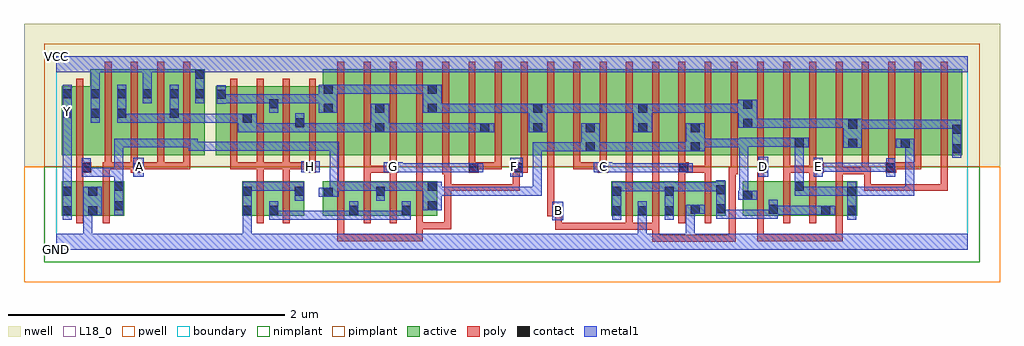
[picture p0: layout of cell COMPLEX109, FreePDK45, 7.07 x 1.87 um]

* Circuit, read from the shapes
.subckt COMPLEX109 A B C D E F G GND H VCC Y
M1 GND n1 Y VSUBS nfet w=0.25u l=0.05u
M2 n1 A GND VSUBS nfet w=0.25u l=0.05u
M3 n2 H GND VSUBS nfet w=0.25u l=0.05u m=2
M4 n2 F n1 VSUBS nfet w=0.25u l=0.05u m=2
M5 n1 G n2 VSUBS nfet w=0.25u l=0.05u m=2
M6 GND B n3 VSUBS nfet w=0.25u l=0.05u m=2
M7 GND C n3 VSUBS nfet w=0.25u l=0.05u m=2
M8 n3 D n1 VSUBS nfet w=0.25u l=0.05u m=2
M9 n1 E n3 VSUBS nfet w=0.25u l=0.05u m=2
M10 VCC n1 Y n4 pfet w=0.5u l=0.05u
M11 n5 A VCC n4 pfet w=0.625u l=0.05u m=4
M12 n5 H n6 n4 pfet w=0.5u l=0.05u m=4
M13 n7 F n6 n4 pfet w=0.625u l=0.05u
M14 n5 G n7 n4 pfet w=0.625u l=0.05u
M15 n8 G n5 n4 pfet w=0.625u l=0.05u
M16 n6 F n8 n4 pfet w=0.625u l=0.05u
M17 n9 F n6 n4 pfet w=0.625u l=0.05u
M18 n5 G n9 n4 pfet w=0.625u l=0.05u
M19 n10 G n5 n4 pfet w=0.625u l=0.05u
M20 n6 F n10 n4 pfet w=0.625u l=0.05u
M21 n11 B n6 n4 pfet w=0.625u l=0.05u
M22 n1 C n11 n4 pfet w=0.625u l=0.05u
M23 n12 C n1 n4 pfet w=0.625u l=0.05u
M24 n6 B n12 n4 pfet w=0.625u l=0.05u
M25 n13 B n6 n4 pfet w=0.625u l=0.05u
M26 n1 C n13 n4 pfet w=0.625u l=0.05u
M27 n14 C n1 n4 pfet w=0.625u l=0.05u
M28 n6 B n14 n4 pfet w=0.625u l=0.05u
M29 n15 D n6 n4 pfet w=0.625u l=0.05u
M30 n1 E n15 n4 pfet w=0.625u l=0.05u
M31 n16 E n1 n4 pfet w=0.625u l=0.05u
M32 n6 D n16 n4 pfet w=0.625u l=0.05u
M33 n17 D n6 n4 pfet w=0.625u l=0.05u
M34 n1 E n17 n4 pfet w=0.625u l=0.05u
M35 n18 E n1 n4 pfet w=0.625u l=0.05u
M36 n6 D n18 n4 pfet w=0.625u l=0.05u
.ends

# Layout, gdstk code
import gdstk
lib = gdstk.Library(unit=1e-6, precision=1e-09)
def R(c, l, rs):  # rectangles x0, y0, x1, y1
    for r in rs: c.add(gdstk.rectangle(r[:2], r[2:], *l))
def A(c, l, x, y, w, h, nx, ny, dx, dy):  # array of equal rectangles
    R(c, l, [(x+i*dx, y+j*dy, x+i*dx+w, y+j*dy+h) for i in range(nx) for j in range(ny)])
active = (1, 0)
pwell = (2, 0)
nwell = (3, 0)
nimplant = (4, 0)
pimplant = (5, 0)
poly = (9, 0)
contact = (10, 0)
metal1 = (11, 0)
L18_0 = (18, 0)
boundary = (235, 0)

complex109 = lib.new_cell('COMPLEX109')
A(complex109, active, 5.155, 0.247, 0.265, 0.25, 3, 1, 0.19, 0)
A(complex109, active, 1.155, 0.682, 0.265, 0.5, 3, 1, 0.19, 0)
A(complex109, active, 2.155, 0.682, 0.225, 0.625, 3, 1, 0.38, 0)
A(complex109, active, 2.305, 0.682, 0.23, 0.625, 3, 1, 0.38, 0)
A(complex109, active, 3.295, 0.682, 0.23, 0.625, 5, 1, 0.38, 0)
A(complex109, active, 3.45, 0.682, 0.075, 0.518, 4, 1, 0.76, 0)
A(complex109, active, 3.45, 0.682, 0.225, 0.625, 5, 1, 0.38, 0)
R(complex109, active, [(0.04,0.245,0.115,0.495), (0.04,0.245,0.3,0.495), (0.225,0.245,0.49,0.495), (0.225,0.245,0.3,0.46), (4.02,0.245,4.095,0.495), (4.02,0.245,4.28,0.495), (4.205,0.245,4.475,0.495), (4.205,0.245,4.28,0.387), (4.4,0.245,4.665,0.495), (4.4,0.245,4.475,0.46), (4.59,0.245,4.85,0.495), (1.345,0.247,1.42,0.497), (1.345,0.247,1.61,0.497), (1.535,0.247,1.795,0.497), (1.535,0.247,1.61,0.357), (1.93,0.247,2.19,0.497), (2.115,0.247,2.19,0.405), (2.115,0.247,2.385,0.497), (2.31,0.247,2.57,0.497), (2.495,0.247,2.76,0.497), (2.495,0.247,2.57,0.372), (4.97,0.247,5.23,0.497), (5.155,0.247,5.23,0.405), (5.535,0.247,5.61,0.387), (5.725,0.247,5.8,0.497), (4.59,0.255,4.665,0.467), (4.775,0.257,4.85,0.495), (0.415,0.28,0.49,0.495), (2.685,0.28,2.76,0.497), (1.72,0.297,1.795,0.497), (1.93,0.297,2.005,0.497), (2.31,0.297,2.385,0.467), (4.97,0.297,5.045,0.497), (5.345,0.297,5.42,0.497), (0.04,0.682,0.32,1.182), (0.04,0.682,0.115,1.165), (0.245,0.682,0.32,1.307), (0.245,0.682,0.51,1.307), (0.435,0.682,0.51,1.2), (0.435,0.682,0.695,1.307), (0.62,0.682,0.89,1.307), (0.62,0.682,0.695,1.282), (0.815,0.682,0.89,1.2), (0.815,0.682,1.075,1.307), (1,0.682,1.075,1.307), (1.155,0.682,1.23,1.182), (1.725,0.682,2.005,1.182), (1.93,0.682,2.155,1.307), (2.305,0.682,2.38,1.07), (2.685,0.682,2.76,1.2), (3.065,0.682,3.14,1.07), (3.83,0.682,3.905,1.07), (4.59,0.682,4.665,1.07), (5.195,0.682,5.42,1.307), (5.345,0.682,5.42,1.07), (5.345,0.682,5.575,1.307), (5.575,0.682,5.805,1.307), (5.73,0.682,5.955,1.307), (5.955,0.682,6.185,1.307), (6.11,0.682,6.335,1.307), (6.11,0.682,6.185,1.07), (6.335,0.682,6.56,1.307), (6.485,0.682,6.56,1.2), (1.535,0.72,1.61,1.182), (1.93,0.752,2.005,1.2), (1.345,0.807,1.42,1.07), (1.725,0.807,1.8,1.07)])
R(complex109, pwell, [(-0.235,-0.235,6.835,0.602)])
R(complex109, nwell, [(-0.235,0.602,6.835,1.635)])
R(complex109, nimplant, [(-0.09,-0.09,6.69,0.602)])
R(complex109, pimplant, [(-0.09,0.602,6.69,1.49)])
A(complex109, poly, 4.125, 0.19, 0.05, 0.36, 4, 1, 0.19, 0)
A(complex109, poly, 2.035, 0.192, 0.05, 0.36, 4, 1, 0.19, 0)
A(complex109, poly, 5.075, 0.192, 0.05, 0.36, 4, 1, 0.19, 0)
A(complex109, poly, 5.075, 0.502, 0.05, 0.105, 3, 1, 0.19, 0)
A(complex109, poly, 0.35, 0.582, 0.05, 0.095, 4, 1, 0.19, 0)
A(complex109, poly, 1.26, 0.582, 0.05, 0.05, 3, 1, 0.19, 0)
A(complex109, poly, 1.26, 0.582, 0.05, 0.095, 4, 1, 0.19, 0)
A(complex109, poly, 2.985, 0.582, 0.05, 0.095, 3, 1, 0.19, 0)
A(complex109, poly, 3.935, 0.582, 0.05, 0.095, 3, 1, 0.57, 0)
A(complex109, poly, 0.35, 0.627, 0.05, 0.735, 4, 1, 0.19, 0)
A(complex109, poly, 1.26, 0.627, 0.05, 0.61, 4, 1, 0.19, 0)
A(complex109, poly, 2.035, 0.627, 0.05, 0.735, 24, 1, 0.19, 0)
R(complex109, poly, [(4.315,0.057,4.612,0.107), (4.315,0.057,4.365,0.195), (4.562,0.057,4.612,0.107), (4.562,0.057,4.612,0.107), (4.562,0.057,4.612,0.107), (4.562,0.057,4.745,0.107), (4.695,0.057,4.745,0.107), (4.695,0.057,4.745,0.107), (4.695,0.057,4.745,0.107), (4.695,0.057,4.92,0.107), (4.87,0.057,4.92,0.107), (4.87,0.057,4.92,0.107), (4.87,0.057,4.92,0.107), (4.87,0.057,4.92,0.597), (2.035,0.06,2.085,0.11), (2.035,0.06,2.085,0.11), (2.035,0.06,2.085,0.11), (2.035,0.06,2.085,0.242), (2.035,0.06,2.32,0.11), (2.27,0.06,2.32,0.11), (2.27,0.06,2.452,0.11), (2.402,0.06,2.452,0.11), (2.402,0.06,2.452,0.11), (2.402,0.06,2.452,0.11), (2.402,0.06,2.655,0.11), (2.605,0.06,2.655,0.11), (2.605,0.06,2.655,0.11), (2.605,0.06,2.655,0.197), (5.075,0.06,5.125,0.11), (5.075,0.06,5.125,0.242), (5.075,0.06,5.372,0.11), (5.322,0.06,5.372,0.11), (5.322,0.06,5.372,0.11), (5.322,0.06,5.372,0.11), (5.322,0.06,5.562,0.11), (5.512,0.06,5.562,0.11), (5.512,0.06,5.562,0.11), (5.512,0.06,5.562,0.11), (5.512,0.06,5.695,0.11), (5.645,0.06,5.695,0.11), (5.645,0.06,5.695,0.11), (5.645,0.06,5.695,0.11), (5.645,0.06,5.695,0.242), (3.612,0.145,3.662,0.195), (3.612,0.145,3.662,0.195), (3.612,0.145,3.662,0.195), (3.612,0.145,3.795,0.195), (3.612,0.145,3.662,0.292), (3.745,0.145,3.795,0.195), (3.745,0.145,3.795,0.195), (3.745,0.145,3.795,0.195), (3.745,0.145,3.795,0.195), (3.745,0.145,3.795,0.195), (3.745,0.145,4.042,0.195), (3.992,0.145,4.042,0.195), (3.992,0.145,4.175,0.195), (4.125,0.145,4.175,0.195), (4.125,0.145,4.175,0.195), (4.125,0.145,4.175,0.195), (4.125,0.145,4.175,0.24), (4.125,0.145,4.365,0.195), (4.315,0.145,4.365,0.195), (4.315,0.145,4.365,0.195), (4.315,0.145,4.365,0.24), (2.605,0.147,2.655,0.242), (2.605,0.147,2.86,0.197), (2.81,0.147,2.86,0.197), (2.81,0.147,2.86,0.197), (2.81,0.147,2.86,0.475), (0.145,0.19,0.195,0.55), (0.335,0.19,0.385,0.55), (1.45,0.192,1.5,0.552), (1.64,0.192,1.69,0.552), (3.555,0.242,3.662,0.317), (3.612,0.242,3.662,0.292), (3.612,0.242,3.662,0.292), (3.555,0.267,3.605,0.677), (2.81,0.425,2.86,0.475), (2.81,0.425,2.86,0.475), (2.81,0.425,2.86,0.597), (2.81,0.425,3.015,0.475), (2.965,0.425,3.015,0.475), (2.965,0.425,3.015,0.475), (2.965,0.425,3.015,0.475), (2.965,0.425,3.192,0.475), (3.142,0.425,3.192,0.475), (3.142,0.425,3.192,0.475), (3.142,0.425,3.192,0.475), (3.142,0.425,3.192,0.475), (3.142,0.425,3.192,0.475), (3.142,0.425,3.357,0.475), (3.307,0.425,3.357,0.475), (3.307,0.425,3.357,0.475), (3.307,0.425,3.357,0.475), (3.307,0.425,3.357,0.475), (3.307,0.425,3.357,0.475), (3.307,0.425,3.357,0.607), (5.85,0.425,5.9,0.475), (5.85,0.425,6.057,0.475), (5.85,0.425,5.9,0.597), (6.007,0.425,6.057,0.475), (6.007,0.425,6.057,0.475), (6.007,0.425,6.057,0.475), (6.007,0.425,6.322,0.475), (6.272,0.425,6.322,0.475), (6.272,0.425,6.322,0.475), (6.272,0.425,6.322,0.475), (6.272,0.425,6.455,0.475), (6.405,0.425,6.455,0.677), (6.405,0.425,6.455,0.475), (6.405,0.425,6.455,0.475), (6.405,0.425,6.455,0.475), (6.405,0.425,6.455,0.475), (6.405,0.425,6.455,0.475), (6.405,0.425,6.455,0.475), (6.405,0.425,6.455,0.475), (0.145,0.5,0.195,0.607), (0.335,0.5,0.385,0.632), (4.125,0.5,4.175,0.595), (4.315,0.5,4.365,0.595), (4.505,0.5,4.555,0.607), (4.695,0.5,4.745,0.607), (1.45,0.502,1.5,0.632), (1.64,0.502,1.69,0.632), (2.035,0.502,2.085,0.597), (2.225,0.502,2.275,0.607), (2.415,0.502,2.465,0.607), (2.605,0.502,2.655,0.597), (5.645,0.502,5.695,0.597), (4.125,0.545,4.175,0.595), (4.125,0.545,4.175,0.677), (4.315,0.545,4.365,0.595), (4.315,0.545,4.365,0.677), (2.035,0.547,2.085,0.597), (2.035,0.547,2.085,0.677), (2.605,0.547,2.655,0.597), (2.605,0.547,2.655,0.677), (2.795,0.547,2.845,0.677), (2.795,0.547,2.86,0.597), (2.81,0.547,2.86,0.597), (2.81,0.547,2.86,0.597), (4.87,0.547,4.92,0.597), (4.87,0.547,4.92,0.597), (4.87,0.547,4.92,0.597), (4.87,0.547,4.92,0.597), (4.87,0.547,4.935,0.597), (4.885,0.547,4.935,0.677), (5.645,0.547,5.695,0.597), (5.645,0.547,5.695,0.677), (5.645,0.547,5.885,0.597), (5.835,0.547,5.885,0.597), (5.835,0.547,5.885,0.597), (5.835,0.547,5.885,0.677), (5.835,0.547,5.9,0.597), (5.85,0.547,5.9,0.597), (5.85,0.547,5.9,0.597), (0.145,0.557,0.252,0.632), (0.54,0.557,0.627,0.632), (1.802,0.557,1.88,0.632), (2.225,0.557,2.275,0.607), (2.225,0.557,2.275,0.677), (2.225,0.557,2.452,0.607), (2.402,0.557,2.452,0.607), (2.402,0.557,2.452,0.607), (2.402,0.557,2.477,0.632), (2.985,0.557,3.06,0.632), (3.307,0.557,3.415,0.632), (3.922,0.557,3.997,0.632), (4.505,0.557,4.58,0.632), (4.53,0.557,4.745,0.607), (4.695,0.557,4.745,0.607), (4.695,0.557,4.745,0.607), (4.695,0.557,4.745,0.607), (4.695,0.557,4.745,0.677), (5.075,0.557,5.155,0.632), (5.265,0.557,5.315,0.607), (5.265,0.557,5.505,0.607), (5.265,0.557,5.315,0.677), (5.455,0.557,5.505,0.607), (5.455,0.557,5.505,0.607), (5.455,0.557,5.557,0.632), (6.007,0.557,6.082,0.632), (0.145,0.582,0.195,0.677), (0.335,0.582,0.4,0.632), (0.35,0.582,0.59,0.632), (0.54,0.582,0.59,0.632), (0.54,0.582,0.59,0.632), (0.577,0.582,0.78,0.632), (0.73,0.582,0.78,0.632), (0.73,0.582,0.78,0.632), (0.73,0.582,0.78,0.632), (0.73,0.582,0.97,0.632), (0.92,0.582,0.97,0.632), (0.92,0.582,0.97,0.632), (0.92,0.582,0.97,0.632), (1.26,0.582,1.31,0.632), (1.26,0.582,1.31,0.632), (1.26,0.582,1.5,0.632), (1.45,0.582,1.69,0.632), (1.64,0.582,1.69,0.632), (1.64,0.582,1.69,0.632), (1.64,0.582,1.852,0.632), (1.802,0.582,1.852,0.632), (1.802,0.582,1.852,0.632), (2.415,0.582,2.465,0.677), (3.01,0.582,3.225,0.632), (3.175,0.582,3.225,0.632), (3.175,0.582,3.225,0.632), (3.175,0.582,3.225,0.632), (3.745,0.582,3.795,0.632), (3.745,0.582,3.795,0.632), (3.745,0.582,3.795,0.632), (3.745,0.582,3.795,0.677), (3.745,0.582,3.972,0.632), (5.455,0.582,5.505,0.677), (6.025,0.582,6.075,0.677), (6.032,0.582,6.19,0.632), (6.14,0.582,6.19,0.632), (6.14,0.582,6.265,0.632), (6.215,0.582,6.265,0.632), (6.215,0.582,6.265,0.677), (0.145,0.627,0.195,1.237)])
R(complex109, contact, [(3.592,0.247,3.657,0.312), (0.045,0.25,0.11,0.315), (0.23,0.25,0.295,0.315), (4.025,0.25,4.09,0.315), (4.21,0.25,4.275,0.315), (4.405,0.25,4.47,0.315), (1.35,0.252,1.415,0.317), (1.54,0.252,1.605,0.317), (2.12,0.252,2.185,0.317), (2.5,0.252,2.565,0.317), (5.54,0.252,5.605,0.317), (5.73,0.252,5.795,0.317), (4.595,0.26,4.66,0.325), (5.16,0.26,5.225,0.325), (4.78,0.262,4.845,0.327), (0.42,0.285,0.485,0.35), (2.69,0.285,2.755,0.35), (4.975,0.362,5.04,0.427), (1.935,0.382,2,0.447), (0.045,0.39,0.11,0.455), (0.23,0.39,0.295,0.455), (1.725,0.39,1.79,0.455), (2.315,0.39,2.38,0.455), (4.025,0.39,4.09,0.455), (4.405,0.39,4.47,0.455), (1.35,0.392,1.415,0.457), (5.73,0.392,5.795,0.457), (4.78,0.402,4.845,0.467), (0.42,0.425,0.485,0.49), (2.69,0.425,2.755,0.49), (5.35,0.425,5.415,0.49), (0.182,0.562,0.247,0.627), (0.557,0.562,0.622,0.627), (1.807,0.562,1.872,0.627), (2.407,0.562,2.472,0.627), (2.99,0.562,3.055,0.627), (3.312,0.562,3.377,0.627), (3.927,0.562,3.992,0.627), (4.51,0.562,4.575,0.627), (5.085,0.562,5.15,0.627), (5.487,0.562,5.552,0.627), (6.012,0.562,6.077,0.627), (6.49,0.7,6.555,0.765), (3.835,0.712,3.9,0.777), (4.595,0.712,4.66,0.777), (5.735,0.737,5.8,0.802), (6.115,0.737,6.18,0.802), (5.35,0.742,5.415,0.807), (6.49,0.84,6.555,0.905), (3.455,0.85,3.52,0.915), (4.215,0.85,4.28,0.915), (2.31,0.852,2.375,0.917), (3.07,0.852,3.135,0.917), (3.835,0.852,3.9,0.917), (4.595,0.852,4.66,0.917), (5.735,0.877,5.8,0.942), (4.975,0.882,5.04,0.947), (1.73,0.887,1.795,0.952), (1.35,0.92,1.415,0.985), (0.045,0.955,0.11,1.02), (0.25,0.955,0.315,1.02), (0.44,0.955,0.505,1.02), (0.82,0.955,0.885,1.02), (1.935,0.99,2,1.055), (2.69,0.99,2.755,1.055), (3.455,0.99,3.52,1.055), (4.215,0.99,4.28,1.055), (2.31,0.992,2.375,1.057), (4.975,1.022,5.04,1.087), (1.54,1.025,1.605,1.09), (1.16,1.092,1.225,1.157), (0.045,1.095,0.11,1.16), (0.25,1.095,0.315,1.16), (0.44,1.095,0.505,1.16), (0.625,1.095,0.69,1.16), (0.82,1.095,0.885,1.16), (1.005,1.097,1.07,1.162), (1.935,1.13,2,1.195), (2.69,1.13,2.755,1.195), (1.005,1.237,1.07,1.302)])
R(complex109, metal1, [(0,0,6.6,0.115), (0.195,0.05,0.26,0.115), (0.195,0.05,0.26,0.115), (0.195,0.05,0.26,0.115), (0.195,0.05,0.26,0.115), (0.195,0.05,0.26,0.315), (1.35,0.05,1.415,0.115), (1.35,0.05,1.415,0.115), (1.35,0.05,1.415,0.115), (1.35,0.05,1.415,0.115), (1.35,0.05,1.415,0.282), (4.21,0.05,4.275,0.115), (4.21,0.05,4.275,0.115), (4.21,0.05,4.275,0.115), (4.21,0.05,4.275,0.115), (4.21,0.05,4.275,0.28), (4.56,0.05,4.625,0.115), (4.56,0.05,4.625,0.115), (4.56,0.05,4.625,0.317), (3.592,0.212,3.672,0.347), (0.045,0.215,0.11,0.49), (4.025,0.215,4.09,0.49), (4.21,0.215,4.275,0.35), (4.405,0.215,4.47,0.49), (1.35,0.217,1.415,0.492), (1.54,0.217,1.605,0.352), (1.54,0.217,1.657,0.282), (1.592,0.217,1.657,0.282), (1.592,0.217,1.827,0.282), (1.762,0.217,1.827,0.282), (1.762,0.217,1.827,0.282), (1.762,0.217,1.827,0.282), (1.762,0.217,2.047,0.282), (1.982,0.217,2.047,0.282), (1.982,0.217,2.047,0.282), (1.982,0.217,2.047,0.282), (1.982,0.217,2.185,0.282), (2.12,0.217,2.185,0.282), (2.12,0.217,2.185,0.282), (2.12,0.217,2.185,0.352), (2.12,0.217,2.41,0.282), (2.345,0.217,2.41,0.282), (2.345,0.217,2.565,0.282), (2.5,0.217,2.565,0.282), (2.5,0.217,2.565,0.282), (2.5,0.217,2.565,0.352), (5.73,0.217,5.795,0.492), (4.78,0.225,4.845,0.29), (4.78,0.225,4.845,0.29), (4.78,0.225,5.087,0.29), (4.78,0.225,4.845,0.292), (5.022,0.225,5.087,0.29), (5.022,0.225,5.087,0.29), (5.022,0.225,5.087,0.29), (5.022,0.225,5.225,0.29), (5.16,0.225,5.225,0.36), (4.78,0.227,4.845,0.292), (4.78,0.227,4.845,0.502), (0.195,0.25,0.33,0.455), (0.42,0.25,0.485,0.525), (4.56,0.252,4.625,0.317), (4.56,0.252,4.625,0.325), (5.16,0.252,5.362,0.317), (5.297,0.252,5.362,0.317), (5.297,0.252,5.362,0.317), (5.297,0.252,5.362,0.317), (5.297,0.252,5.56,0.317), (5.495,0.252,5.56,0.317), (5.495,0.252,5.57,0.317), (5.505,0.252,5.64,0.317), (4.56,0.26,4.695,0.325), (2.655,0.285,2.79,0.49), (1.725,0.355,1.79,0.49), (2.315,0.355,2.38,0.49), (4.94,0.362,5.075,0.427), (4.947,0.362,5.012,0.427), (4.947,0.362,5.012,0.427), (4.947,0.362,5.012,0.805), (1.9,0.382,2.045,0.447), (1.98,0.382,2.045,0.447), (1.98,0.382,2.045,0.49), (1.98,0.382,2.045,0.78), (2.725,0.39,2.882,0.455), (2.817,0.39,2.882,0.455), (2.817,0.39,2.962,0.455), (2.897,0.39,2.962,0.455), (2.897,0.39,3.02,0.455), (2.955,0.39,3.02,0.455), (2.955,0.39,3.21,0.455), (3.145,0.39,3.21,0.455), (3.145,0.39,3.21,0.455), (3.145,0.39,3.21,0.455), (3.145,0.39,3.347,0.455), (3.282,0.39,3.347,0.455), (3.282,0.39,3.347,0.455), (3.282,0.39,3.347,0.455), (3.282,0.39,3.515,0.455), (3.45,0.39,3.515,0.455), (3.45,0.39,3.515,0.455), (3.45,0.39,3.515,0.455), (3.45,0.39,3.515,0.777), (5.35,0.39,5.415,0.525), (5.35,0.39,5.552,0.455), (5.487,0.39,5.552,0.455), (5.487,0.39,5.552,0.455), (5.487,0.39,5.552,0.455), (5.487,0.39,5.697,0.455), (5.632,0.39,5.697,0.455), (5.632,0.39,5.795,0.455), (5.73,0.39,5.87,0.455), (5.805,0.39,5.87,0.455), (5.805,0.39,6.007,0.455), (5.942,0.39,6.007,0.455), (5.942,0.39,6.215,0.455), (6.15,0.39,6.215,0.455), (6.15,0.39,6.215,0.455), (6.15,0.39,6.215,0.455), (6.15,0.39,6.215,0.802), (4.025,0.422,4.165,0.487), (4.1,0.422,4.165,0.487), (4.1,0.422,4.302,0.487), (4.237,0.422,4.302,0.487), (4.237,0.422,4.302,0.487), (4.237,0.422,4.302,0.487), (4.237,0.422,4.47,0.487), (4.405,0.422,4.47,0.487), (4.405,0.422,4.47,0.487), (4.405,0.422,4.707,0.487), (4.642,0.422,4.707,0.487), (4.642,0.422,4.707,0.487), (4.642,0.422,4.707,0.487), (4.642,0.422,4.845,0.487), (0.045,0.425,0.11,0.49), (0.045,0.425,0.11,0.49), (0.045,0.425,0.11,0.985), (1.35,0.425,1.415,0.49), (1.35,0.425,1.415,0.49), (1.35,0.425,1.415,0.49), (1.35,0.425,1.415,0.492), (1.35,0.425,1.652,0.49), (1.587,0.425,1.652,0.49), (1.587,0.425,1.652,0.49), (1.587,0.425,1.652,0.49), (1.587,0.425,1.79,0.49), (1.98,0.425,2.202,0.49), (2.137,0.425,2.202,0.49), (2.137,0.425,2.202,0.49), (2.137,0.425,2.202,0.49), (2.137,0.425,2.38,0.49), (2.315,0.425,2.547,0.49), (2.482,0.425,2.547,0.49), (2.482,0.425,2.547,0.49), (2.482,0.425,2.547,0.49), (2.482,0.425,2.72,0.49), (2.655,0.425,2.72,0.49), (2.655,0.425,2.72,0.49), (0.42,0.46,0.485,0.525), (0.42,0.46,0.485,0.805), (0.42,0.46,0.485,0.592), (5.35,0.46,5.415,0.805), (0.182,0.527,0.247,0.592), (0.182,0.527,0.247,0.592), (0.182,0.527,0.247,0.592), (0.182,0.527,0.247,0.592), (0.182,0.527,0.247,0.662), (0.182,0.527,0.485,0.592), (0.557,0.527,0.632,0.667), (3.287,0.527,3.377,0.667), (5.085,0.527,5.157,0.672), (5.487,0.527,5.552,0.667), (6.012,0.527,6.077,0.662), (1.772,0.562,1.907,0.64), (2.372,0.562,2.507,0.632), (2.442,0.562,2.547,0.627), (2.482,0.562,2.547,0.627), (2.482,0.562,2.745,0.627), (2.68,0.562,2.745,0.627), (2.68,0.562,2.745,0.627), (2.68,0.562,2.745,0.627), (2.68,0.562,2.882,0.627), (2.817,0.562,2.882,0.627), (2.817,0.562,2.927,0.627), (2.862,0.562,2.927,0.627), (2.862,0.562,3.02,0.627), (2.955,0.562,3.09,0.627), (3.892,0.562,4.027,0.632), (3.962,0.562,4.107,0.627), (4.042,0.562,4.107,0.627), (4.042,0.562,4.165,0.627), (4.1,0.562,4.165,0.627), (4.1,0.562,4.302,0.627), (4.237,0.562,4.302,0.627), (4.237,0.562,4.302,0.627), (4.237,0.562,4.302,0.627), (4.237,0.562,4.47,0.627), (4.405,0.562,4.47,0.627), (4.405,0.562,4.54,0.627), (4.475,0.562,4.61,0.627), (5.487,0.565,5.552,0.63), (5.487,0.565,5.552,0.63), (5.487,0.565,5.697,0.63), (5.632,0.565,5.697,0.63), (5.632,0.565,5.87,0.63), (5.805,0.565,5.87,0.63), (5.805,0.565,5.87,0.63), (5.805,0.565,5.87,0.63), (5.805,0.565,6.007,0.63), (5.942,0.565,6.007,0.63), (5.942,0.565,6.077,0.63), (6.49,0.665,6.555,0.94), (3.45,0.712,3.515,0.777), (3.45,0.712,3.515,0.777), (3.45,0.712,3.515,0.777), (3.45,0.712,3.692,0.777), (3.627,0.712,3.692,0.777), (3.627,0.712,3.692,0.777), (3.627,0.712,3.692,0.777), (3.627,0.712,3.865,0.777), (3.8,0.712,3.935,0.917), (3.87,0.712,3.935,0.777), (3.87,0.712,3.935,0.777), (3.87,0.712,4.107,0.777), (4.042,0.712,4.107,0.777), (4.042,0.712,4.165,0.777), (4.1,0.712,4.165,0.777), (4.1,0.712,4.332,0.777), (4.267,0.712,4.332,0.777), (4.267,0.712,4.332,0.777), (4.267,0.712,4.332,0.777), (4.267,0.712,4.487,0.777), (4.422,0.712,4.487,0.777), (4.422,0.712,4.487,0.777), (4.422,0.712,4.487,0.777), (4.422,0.712,4.625,0.777), (4.56,0.712,4.695,0.917), (0.957,0.715,1.225,0.78), (0.957,0.715,1.022,0.805), (1.16,0.715,1.225,0.78), (1.16,0.715,1.225,0.78), (1.16,0.715,1.225,0.78), (1.16,0.715,1.45,0.78), (1.385,0.715,1.45,0.78), (1.385,0.715,1.45,0.78), (1.385,0.715,1.45,0.78), (1.385,0.715,1.587,0.78), (1.522,0.715,1.587,0.78), (1.522,0.715,1.587,0.78), (1.522,0.715,1.587,0.78), (1.522,0.715,1.827,0.78), (1.762,0.715,1.827,0.78), (1.762,0.715,1.827,0.78), (1.762,0.715,1.827,0.78), (1.762,0.715,2.045,0.78), (1.98,0.715,2.045,0.78), (1.98,0.715,2.045,0.78), (1.98,0.715,2.045,0.78), (5.7,0.737,5.835,0.947), (6.08,0.737,6.215,0.802), (6.15,0.737,6.215,0.802), (6.15,0.737,6.215,0.802), (0.42,0.74,0.485,0.805), (0.42,0.74,0.485,0.805), (0.42,0.74,0.485,0.805), (0.42,0.74,0.747,0.805), (0.682,0.74,0.747,0.805), (0.682,0.74,0.747,0.805), (0.682,0.74,0.747,0.805), (0.682,0.74,0.885,0.805), (0.82,0.74,0.885,0.805), (0.82,0.74,0.885,0.805), (0.82,0.74,0.885,0.805), (0.82,0.74,1.022,0.805), (0.957,0.74,1.022,0.805), (0.957,0.74,1.022,0.805), (4.63,0.74,4.695,0.805), (4.63,0.74,4.695,0.805), (4.63,0.74,4.867,0.805), (4.802,0.74,4.867,0.805), (4.802,0.74,4.867,0.805), (4.802,0.74,4.867,0.805), (4.802,0.74,5.012,0.805), (4.947,0.74,5.012,0.81), (5.315,0.74,5.45,0.81), (5.35,0.74,5.415,0.805), (5.35,0.74,5.415,0.805), (4.947,0.745,5.225,0.81), (5.16,0.745,5.225,0.81), (5.16,0.745,5.225,0.81), (5.16,0.745,5.225,0.81), (5.16,0.745,5.38,0.81), (5.315,0.745,5.38,0.81), (5.315,0.745,5.38,0.81), (3.42,0.85,3.555,1.055), (4.18,0.85,4.315,1.055), (1.315,0.852,1.45,0.985), (1.385,0.852,1.45,0.917), (1.385,0.852,1.45,0.917), (1.385,0.852,1.587,0.917), (1.522,0.852,1.587,0.917), (1.522,0.852,1.587,0.917), (1.522,0.852,1.587,0.917), (1.522,0.852,1.795,0.917), (1.73,0.852,1.795,0.917), (1.73,0.852,1.795,0.917), (1.73,0.852,1.795,0.987), (1.73,0.852,2.047,0.917), (1.982,0.852,2.047,0.917), (1.982,0.852,2.047,0.917), (1.982,0.852,2.047,0.917), (1.982,0.852,2.202,0.917), (2.137,0.852,2.202,0.917), (2.137,0.852,2.202,0.917), (2.137,0.852,2.202,0.917), (2.137,0.852,2.34,0.917), (2.275,0.852,2.41,1.057), (2.345,0.852,2.41,0.917), (2.345,0.852,2.41,0.917), (2.345,0.852,2.547,0.917), (2.482,0.852,2.547,0.917), (2.482,0.852,2.745,0.917), (2.68,0.852,2.745,0.917), (2.68,0.852,2.745,0.917), (2.68,0.852,2.745,0.917), (2.68,0.852,2.882,0.917), (2.817,0.852,2.882,0.917), (2.817,0.852,2.962,0.917), (2.897,0.852,2.962,0.917), (2.897,0.852,3.02,0.917), (2.955,0.852,3.02,0.917), (2.955,0.852,3.1,0.917), (3.035,0.852,3.17,0.917), (5.77,0.875,5.835,0.94), (5.77,0.875,5.835,0.94), (5.77,0.875,6.007,0.94), (5.942,0.875,6.007,0.94), (5.942,0.875,6.145,0.94), (6.08,0.875,6.145,0.94), (6.08,0.875,6.145,0.94), (6.08,0.875,6.145,0.94), (6.08,0.875,6.352,0.94), (6.287,0.875,6.352,0.94), (6.287,0.875,6.352,0.94), (6.287,0.875,6.352,0.94), (6.287,0.875,6.555,0.94), (6.49,0.875,6.555,0.94), (6.49,0.875,6.555,0.94), (4.94,0.882,5.075,1.087), (5.01,0.882,5.075,0.947), (5.01,0.882,5.075,0.947), (5.01,0.882,5.225,0.947), (5.16,0.882,5.225,0.947), (5.16,0.882,5.362,0.947), (5.297,0.882,5.362,0.947), (5.297,0.882,5.362,0.947), (5.297,0.882,5.362,0.947), (5.297,0.882,5.552,0.947), (5.487,0.882,5.552,0.947), (5.487,0.882,5.552,0.947), (5.487,0.882,5.552,0.947), (5.487,0.882,5.697,0.947), (5.632,0.882,5.697,0.947), (5.632,0.882,5.765,0.947), (0.045,0.92,0.11,0.985), (0.045,0.92,0.11,0.985), (0.045,0.92,0.112,1.195), (0.25,0.92,0.315,1.195), (0.44,0.92,0.505,1.195), (0.44,0.92,0.747,0.985), (0.682,0.92,0.747,0.985), (0.682,0.92,0.747,0.985), (0.682,0.92,0.747,0.985), (0.682,0.92,0.885,0.985), (0.82,0.92,0.885,0.985), (0.82,0.92,0.885,0.985), (0.82,0.92,0.885,1.195), (0.82,0.92,1.022,0.985), (0.957,0.92,1.022,0.985), (0.957,0.92,1.022,0.985), (0.957,0.92,1.022,0.985), (0.957,0.92,1.16,0.985), (1.095,0.92,1.16,0.985), (1.095,0.92,1.16,0.985), (1.095,0.92,1.16,0.985), (1.095,0.92,1.38,0.985), (1.54,0.99,1.605,1.125), (1.9,0.99,2.035,1.195), (2.655,0.99,2.79,1.195), (2.725,0.99,2.882,1.055), (2.817,0.99,2.882,1.055), (2.817,0.99,2.962,1.055), (2.897,0.99,2.962,1.055), (2.897,0.99,3.02,1.055), (2.955,0.99,3.02,1.055), (2.955,0.99,3.21,1.055), (3.145,0.99,3.21,1.055), (3.145,0.99,3.21,1.055), (3.145,0.99,3.21,1.055), (3.145,0.99,3.347,1.055), (3.282,0.99,3.347,1.055), (3.282,0.99,3.347,1.055), (3.282,0.99,3.347,1.055), (3.282,0.99,3.485,1.055), (3.49,0.99,3.555,1.055), (3.49,0.99,3.555,1.055), (3.49,0.99,3.692,1.055), (3.627,0.99,3.692,1.055), (3.627,0.99,3.692,1.055), (3.627,0.99,3.692,1.055), (3.627,0.99,3.83,1.055), (3.765,0.99,3.83,1.055), (3.765,0.99,3.83,1.055), (3.765,0.99,3.83,1.055), (3.765,0.99,4.107,1.055), (4.042,0.99,4.107,1.055), (4.042,0.99,4.165,1.055), (4.1,0.99,4.165,1.055), (4.1,0.99,4.245,1.055), (4.25,0.99,4.315,1.055), (4.25,0.99,4.315,1.055), (4.25,0.99,4.47,1.055), (4.405,0.99,4.47,1.055), (4.405,0.99,4.47,1.055), (4.405,0.99,4.47,1.055), (4.405,0.99,4.707,1.055), (4.642,0.99,4.707,1.055), (4.642,0.99,4.707,1.055), (4.642,0.99,4.707,1.055), (4.642,0.99,4.845,1.055), (4.78,0.99,4.845,1.055), (4.78,0.99,4.845,1.055), (4.78,0.99,4.845,1.055), (4.78,0.99,5.005,1.055), (1.16,1.057,1.225,1.192), (0.625,1.06,0.69,1.195), (1.16,1.06,1.225,1.125), (1.16,1.06,1.225,1.125), (1.16,1.06,1.362,1.125), (1.297,1.06,1.362,1.125), (1.297,1.06,1.362,1.125), (1.297,1.06,1.362,1.125), (1.297,1.06,1.605,1.125), (1.54,1.06,1.605,1.125), (1.54,1.06,1.605,1.125), (1.54,1.06,1.827,1.125), (1.762,1.06,1.827,1.125), (1.762,1.06,1.827,1.125), (1.762,1.06,1.827,1.125), (1.762,1.06,1.965,1.125), (1.005,1.062,1.07,1.345), (0.25,1.13,0.315,1.35), (0.625,1.13,0.69,1.35), (1.97,1.13,2.045,1.195), (1.98,1.13,2.045,1.195), (1.98,1.13,2.202,1.195), (2.137,1.13,2.202,1.195), (2.137,1.13,2.202,1.195), (2.137,1.13,2.202,1.195), (2.137,1.13,2.41,1.195), (2.345,1.13,2.41,1.195), (2.345,1.13,2.547,1.195), (2.482,1.13,2.547,1.195), (2.482,1.13,2.547,1.195), (2.482,1.13,2.547,1.195), (2.482,1.13,2.72,1.195), (2.655,1.13,2.72,1.195), (2.655,1.13,2.72,1.195), (1.005,1.28,1.07,1.35), (0,1.285,6.6,1.4)])
R(complex109, L18_0, [(0,0,6.6,0.115), (0.195,0.05,0.26,0.115), (0.195,0.05,0.26,0.115), (0.195,0.05,0.26,0.115), (0.195,0.05,0.26,0.115), (0.195,0.05,0.26,0.315), (1.35,0.05,1.415,0.115), (1.35,0.05,1.415,0.115), (1.35,0.05,1.415,0.115), (1.35,0.05,1.415,0.115), (1.35,0.05,1.415,0.282), (4.21,0.05,4.275,0.115), (4.21,0.05,4.275,0.115), (4.21,0.05,4.275,0.115), (4.21,0.05,4.275,0.115), (4.21,0.05,4.275,0.28), (4.56,0.05,4.625,0.115), (4.56,0.05,4.625,0.115), (4.56,0.05,4.625,0.317), (3.592,0.212,3.672,0.347), (0.045,0.215,0.11,0.49), (4.21,0.215,4.275,0.35), (1.35,0.217,1.415,0.492), (3.607,0.247,3.672,0.312), (0.195,0.25,0.33,0.455), (4.56,0.252,4.625,0.317), (4.56,0.252,4.625,0.325), (4.56,0.26,4.695,0.325), (1.725,0.355,1.79,0.49), (0.045,0.425,0.11,0.49), (0.045,0.425,0.11,0.49), (0.045,0.425,0.11,0.985), (1.35,0.425,1.415,0.49), (1.35,0.425,1.415,0.49), (1.35,0.425,1.415,0.49), (1.35,0.425,1.415,0.492), (1.35,0.425,1.652,0.49), (1.587,0.425,1.652,0.49), (1.587,0.425,1.652,0.49), (1.587,0.425,1.652,0.49), (1.587,0.425,1.79,0.49), (0.557,0.527,0.632,0.667), (3.287,0.527,3.377,0.667), (5.085,0.527,5.157,0.672), (5.487,0.527,5.552,0.667), (6.012,0.527,6.077,0.662), (1.772,0.562,1.907,0.64), (2.372,0.562,2.507,0.632), (2.442,0.562,2.547,0.627), (2.482,0.562,2.547,0.627), (2.482,0.562,2.745,0.627), (2.68,0.562,2.745,0.627), (2.68,0.562,2.745,0.627), (2.68,0.562,2.745,0.627), (2.68,0.562,2.882,0.627), (2.817,0.562,2.882,0.627), (2.817,0.562,2.927,0.627), (2.862,0.562,2.927,0.627), (2.862,0.562,3.02,0.627), (2.955,0.562,3.09,0.627), (3.892,0.562,4.027,0.632), (3.962,0.562,4.107,0.627), (4.042,0.562,4.107,0.627), (4.042,0.562,4.165,0.627), (4.1,0.562,4.165,0.627), (4.1,0.562,4.302,0.627), (4.237,0.562,4.302,0.627), (4.237,0.562,4.302,0.627), (4.237,0.562,4.302,0.627), (4.237,0.562,4.47,0.627), (4.405,0.562,4.47,0.627), (4.405,0.562,4.54,0.627), (4.475,0.562,4.61,0.627), (5.487,0.565,5.552,0.63), (5.487,0.565,5.552,0.63), (5.487,0.565,5.697,0.63), (5.632,0.565,5.697,0.63), (5.632,0.565,5.87,0.63), (5.805,0.565,5.87,0.63), (5.805,0.565,5.87,0.63), (5.805,0.565,5.87,0.63), (5.805,0.565,6.007,0.63), (5.942,0.565,6.007,0.63), (5.942,0.565,6.077,0.63), (0.567,0.567,0.632,0.632), (1.807,0.567,1.872,0.632), (2.407,0.567,2.472,0.632), (3.287,0.567,3.352,0.632), (3.927,0.567,3.992,0.632), (5.087,0.567,5.152,0.632), (5.487,0.567,5.552,0.632), (0.045,0.92,0.11,0.985), (0.045,0.92,0.11,0.985), (0.045,0.92,0.112,1.195), (0.25,0.92,0.315,1.195), (0.047,0.967,0.112,1.032), (0.625,1.06,0.69,1.195), (1.005,1.062,1.07,1.345), (0.25,1.13,0.315,1.35), (0.625,1.13,0.69,1.35), (1.005,1.28,1.07,1.35), (0,1.285,6.6,1.4)])
R(complex109, boundary, [(0,0,6.6,1.4)])
complex109.add(gdstk.Label('A', (0.6,0.6), layer=11, texttype=0))
complex109.add(gdstk.Label('B', (3.64,0.28), layer=11, texttype=0))
complex109.add(gdstk.Label('C', (3.96,0.6), layer=11, texttype=0))
complex109.add(gdstk.Label('D', (5.12,0.6), layer=11, texttype=0))
complex109.add(gdstk.Label('E', (5.52,0.6), layer=11, texttype=0))
complex109.add(gdstk.Label('F', (3.32,0.6), layer=11, texttype=0))
complex109.add(gdstk.Label('G', (2.44,0.6), layer=11, texttype=0))
complex109.add(gdstk.Label('H', (1.84,0.6), layer=11, texttype=0))
complex109.add(gdstk.Label('Y', (0.08,1), layer=11, texttype=0))
complex109.add(gdstk.Label('VCC', (0,1.4), layer=11, texttype=0))
complex109.add(gdstk.Label('GND', (0,0), layer=11, texttype=0))

lib.write_gds('COMPLEX109.gds')
